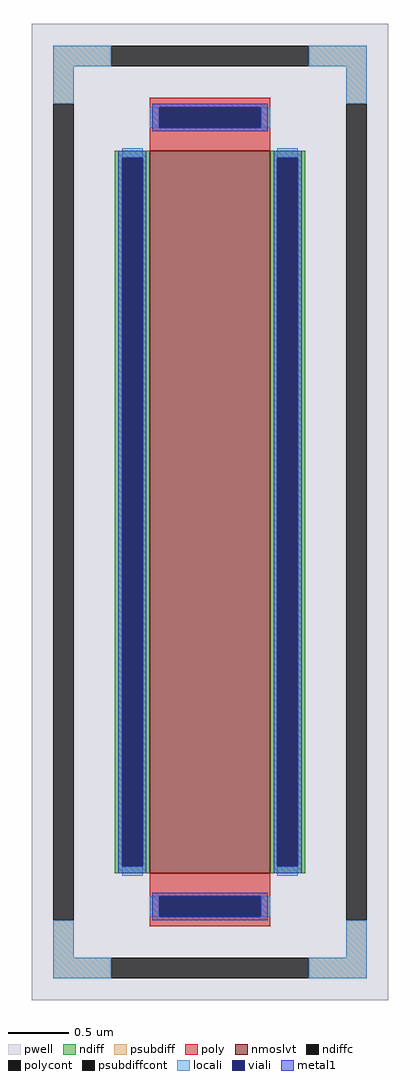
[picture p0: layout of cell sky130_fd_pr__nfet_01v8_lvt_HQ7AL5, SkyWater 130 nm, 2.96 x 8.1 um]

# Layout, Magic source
magic
tech sky130A
<< pwell >>
rect -148 -405 148 405
<< nmoslvt >>
rect -50 -300 50 300
<< ndiff >>
rect -79 294 -50 300
rect -79 -294 -73 294
rect -56 -294 -50 294
rect -79 -300 -50 -294
rect 50 294 79 300
rect 50 -294 56 294
rect 73 -294 79 294
rect 50 -300 79 -294
<< ndiffc >>
rect -73 -294 -56 294
rect 56 -294 73 294
<< psubdiff >>
rect -130 370 -82 387
rect 82 370 130 387
rect -130 339 -113 370
rect 113 339 130 370
rect -130 -370 -113 -339
rect 113 -370 130 -339
rect -130 -387 -82 -370
rect 82 -387 130 -370
<< psubdiffcont >>
rect -82 370 82 387
rect -130 -339 -113 339
rect 113 -339 130 339
rect -82 -387 82 -370
<< poly >>
rect -50 336 50 344
rect -50 319 -42 336
rect 42 319 50 336
rect -50 300 50 319
rect -50 -319 50 -300
rect -50 -336 -42 -319
rect 42 -336 50 -319
rect -50 -344 50 -336
<< polycont >>
rect -42 319 42 336
rect -42 -336 42 -319
<< locali >>
rect -130 370 -82 387
rect 82 370 130 387
rect -130 339 -113 370
rect 113 339 130 370
rect -50 319 -42 336
rect 42 319 50 336
rect -73 294 -56 302
rect -73 -302 -56 -294
rect 56 294 73 302
rect 56 -302 73 -294
rect -50 -336 -42 -319
rect 42 -336 50 -319
rect -130 -370 -113 -339
rect 113 -370 130 -339
rect -130 -387 -82 -370
rect 82 -387 130 -370
<< viali >>
rect -42 319 42 336
rect -73 -294 -56 294
rect 56 -294 73 294
rect -42 -336 42 -319
<< metal1 >>
rect -48 336 48 339
rect -48 319 -42 336
rect 42 319 48 336
rect -48 316 48 319
rect -76 294 -53 300
rect -76 -294 -73 294
rect -56 -294 -53 294
rect -76 -300 -53 -294
rect 53 294 76 300
rect 53 -294 56 294
rect 73 -294 76 294
rect 53 -300 76 -294
rect -48 -319 48 -316
rect -48 -336 -42 -319
rect 42 -336 48 -319
rect -48 -339 48 -336
<< properties >>
string FIXED_BBOX -121 -378 121 378
string gencell sky130_fd_pr__nfet_01v8_lvt
string library sky130
string parameters w 6.0 l 1.0 m 1 nf 1 diffcov 100 polycov 100 guard 1 glc 1 grc 1 gtc 1 gbc 1 tbcov 100 rlcov 100 topc 1 botc 1 poverlap 0 doverlap 1 lmin 0.15 wmin 0.42 compatible {sky130_fd_pr__nfet_01v8 sky130_fd_pr__nfet_01v8_lvt  sky130_fd_bs_flash__special_sonosfet_star  sky130_fd_pr__nfet_g5v0d10v5 sky130_fd_pr__nfet_05v0_nvt  sky130_fd_pr__nfet_03v3_nvt} full_metal 1 viasrc 100 viadrn 100 viagate 100 viagb 0 viagr 0 viagl 0 viagt 0
<< end >>
